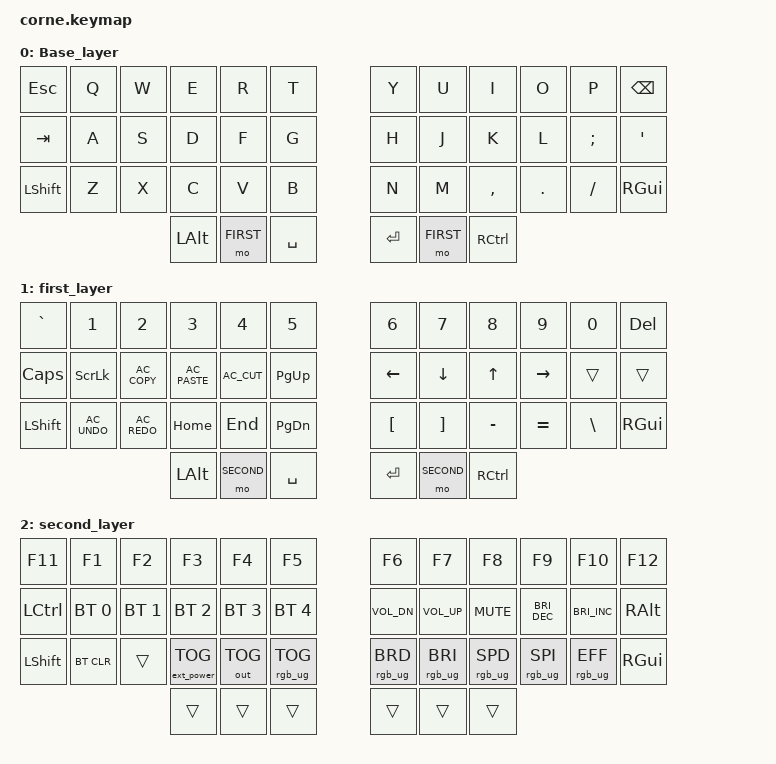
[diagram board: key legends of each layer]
#include <behaviors.dtsi>
#include <dt-bindings/zmk/keys.h>
#include <dt-bindings/zmk/bt.h>
#include <dt-bindings/zmk/rgb.h>
#include <dt-bindings/zmk/outputs.h>
#include <dt-bindings/zmk/ext_power.h>

#define FIRST   1
#define SECOND  2

&led_strip {
    chain-length = <27>;
};   

/ {
        chosen {
            zmk,underglow = &led_strip;
        };
                
        keymap {
            compatible = "zmk,keymap";
                //  -------------------------------------------------------------------------------------------------       -------------------------------------------------------------------------------------------------
                //  |      ESC      |       Q       |       W       |       E       |       R       |       T       |       |       Y       |       U       |       I       |       O       |       P       |     BSPC      |
                //  -------------------------------------------------------------------------------------------------       -------------------------------------------------------------------------------------------------
                //  |      TAB      |       A       |       S       |       D       |       F       |       G       |       |       H       |       J       |       K       |       L       |       ;       |       '       |
                //  -------------------------------------------------------------------------------------------------       -------------------------------------------------------------------------------------------------
                //  |     SHIFT     |       Z       |       X       |       C       |       V       |       B       |       |       N       |       M       |       ,       |       .       |       /       |      GUI      |
                //  -------------------------------------------------------------------------------------------------       -------------------------------------------------------------------------------------------------
                //  |                                               |      CTL      |    LAYER 1    |      SPC      |       |      RET      |    LAYER 1    |      ALT      |                                             
                //                                                  -------------------------------------------------       -------------------------------------------------
            Base_layer {
                bindings = <
                        &kp ESC         &kp Q           &kp W           &kp E           &kp R           &kp T                   &kp Y           &kp U           &kp I           &kp O           &kp P           &kp BSPC
                        &kp TAB         &kp A           &kp S           &kp D           &kp F           &kp G                   &kp H           &kp J           &kp K           &kp L           &kp SEMICOLON   &kp SQT
                        &kp LSHFT       &kp Z           &kp X           &kp C           &kp V           &kp B                   &kp N           &kp M           &kp COMMA       &kp PERIOD      &kp SLASH       &kp RGUI
                                                                        &kp LALT        &mo FIRST       &kp SPACE               &kp RET         &mo FIRST       &kp RCTRL
                >;
            };
 
            
            
            
                //  -------------------------------------------------------------------------------------------------       -------------------------------------------------------------------------------------------------
                //  |       `       |       1       |       2       |       3       |       4       |       5       |       |       6       |       7       |       8       |       9       |       0       |      DEL      |
                //  -------------------------------------------------------------------------------------------------       -------------------------------------------------------------------------------------------------
                //  |     CAPS      |     SCROLL    |     COPY      |     PATSE     |      CUT      |     PG UP     |       |      LEFT     |       UP      |     RIGHT     |     DOWN      |               |               |
                //  -------------------------------------------------------------------------------------------------       -------------------------------------------------------------------------------------------------
                //  |     SHIFT     |      UNDO     |      REDO     |     HOME      |      END      |    PG DOWN    |       |       [       |       ]       |       -       |       +       |       \       |      GUI      |
                //  -------------------------------------------------------------------------------------------------       -------------------------------------------------------------------------------------------------
                //  |                                               |      CTL      |    LAYER 2    |      SPC      |       |      RET      |    LAYER 2    |      ALT      |                                             
                //                                                  -------------------------------------------------       -------------------------------------------------
            first_layer {
                bindings = <
                        &kp GRAVE       &kp N1          &kp N2          &kp N3          &kp N4          &kp N5                  &kp N6          &kp N7          &kp N8          &kp N9          &kp N0          &kp DEL 
                        &kp CLCK        &kp SLCK        &kp C_AC_COPY   &kp C_AC_PASTE  &kp C_AC_CUT    &kp PG_UP               &kp LEFT        &kp DOWN        &kp UP          &kp RIGHT       &trans          &trans
                        &kp LSHFT       &kp C_AC_UNDO   &kp C_AC_REDO   &kp HOME        &kp END         &kp PG_DN               &kp LBKT        &kp RBKT        &kp MINUS       &kp EQUAL       &kp BSLH        &kp RGUI 
                                                                        &kp LALT        &mo SECOND      &kp SPACE               &kp RET         &mo SECOND      &kp RCTRL                 
                >;
            };




                //  -------------------------------------------------------------------------------------------------       -------------------------------------------------------------------------------------------------
                //  |      F11      |       F1      |       F2      |       F3      |       F4      |       F5      |       |       F6      |       F7      |       F8      |       F9      |      F10       |      F12     |
                //  -------------------------------------------------------------------------------------------------       -------------------------------------------------------------------------------------------------
                //  |      CTL      |      BT1      |      BT2      |      BT3      |      BT4      |      BT5      |       |     VOL -     |     VOL +     |     MUTE      |      BRI -    |      BRI +     |      ALT      |
                //  -------------------------------------------------------------------------------------------------       -------------------------------------------------------------------------------------------------
                //  |     SHIFT     |    BT CLEAR   |               |  EXT-POW TOG  |  BLT TOGGLE   |  RGB TOGGLE   |       |   RGB BRI -   |   RGB BRI +   |  RGB SPEED -  |  RGB SPEED +  |   RGB EFF +    |      GUI      |
                //  -------------------------------------------------------------------------------------------------       -------------------------------------------------------------------------------------------------
                //  |                                               |               |               |               |       |               |               |               |                                             
                //                                                  -------------------------------------------------       -------------------------------------------------
            second_layer {
                bindings = <
                        &kp F11         &kp F1          &kp F2          &kp F3          &kp F4          &kp F5                  &kp F6          &kp F7          &kp F8          &kp F9          &kp F10         &kp F12 
                        &kp LCTRL       &bt BT_SEL 0    &bt BT_SEL 1    &bt BT_SEL 2    &bt BT_SEL 3    &bt BT_SEL 4            &kp C_VOL_DN    &kp C_VOL_UP    &kp C_MUTE      &kp C_BRI_DEC   &kp C_BRI_INC   &kp RALT 
                        &kp LSHFT       &bt BT_CLR	    &trans        &ext_power EP_TOG &out OUT_TOG    &rgb_ug RGB_TOG         &rgb_ug RGB_BRD &rgb_ug RGB_BRI &rgb_ug RGB_SPD &rgb_ug RGB_SPI &rgb_ug RGB_EFF &kp RGUI 
                                                                        &trans          &trans          &trans                  &trans          &trans          &trans
                    >;
            };

        };
};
